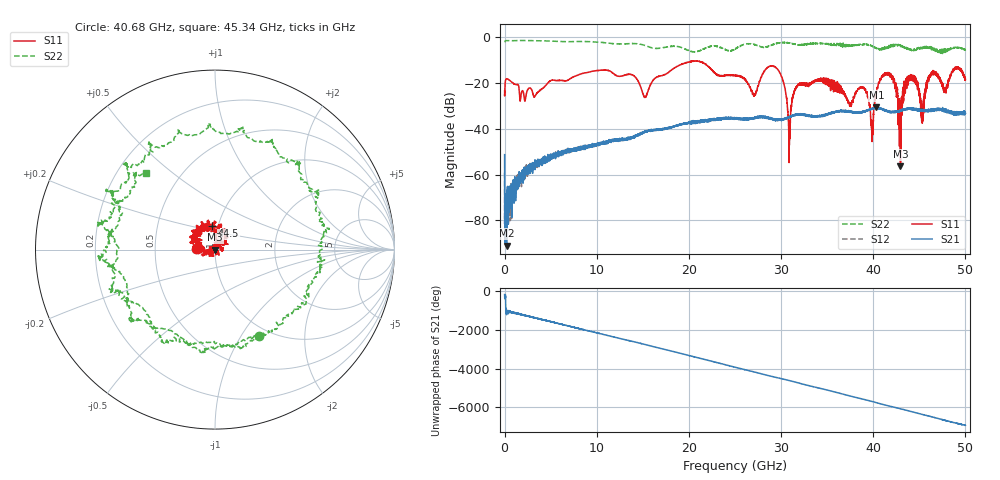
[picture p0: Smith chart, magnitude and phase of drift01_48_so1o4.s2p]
!Created with skrf (http://scikit-rf.org).
# Hz S RI R 50.0
!freq ReS11 ImS11 ReS21 ImS21 ReS12 ImS12 ReS22 ImS22
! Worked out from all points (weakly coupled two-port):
!   10001 points, 300 kHz to 50 GHz, reference 50 ohm
!   highest |S21| = -30.63 dB at 40.34 GHz (marker M1); lowest = -91.0 dB at 220.3 MHz (marker M2)
!   lowest |S11| = -56.3 dB at 42.96 GHz (marker M3), VSWR 1.00, Z = 50.2 - j0.0268 ohm
!   |S11| at or under -10 dB: start of sweep to end of sweep
!   |S22| runs from -7.1 to -1.4 dB; largest |S21 - S12| = 0.0046
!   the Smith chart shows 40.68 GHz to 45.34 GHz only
!   S11 on the Smith chart (normalised r, x): 40.68 GHz: 0.81, +0.00; 44.5 GHz: 0.94, +0.25; 45.34 GHz: 0.97, +0.01
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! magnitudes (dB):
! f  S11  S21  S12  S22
! 300 kHz  -23.5  -51.3  -59.1  -2.1
! 220.3 MHz  -18.1  -91.0  -70.6  -1.4
! 2.85 GHz  -22.4  -56.5  -57.4  -1.4
! 8.335 GHz  -15.9  -48.3  -48.6  -1.8
! 15.23 GHz  -26.2  -41.5  -41.0  -3.6
! 16.67 GHz  -17.0  -40.4  -40.1  -4.8
! 25 GHz  -16.7  -35.2  -35.6  -5.2
! 27.11 GHz  -25.3  -35.3  -35.1  -3.2
! 29.42 GHz  -13.1  -36.0  -36.3  -2.8
! 30.91 GHz  -44.2  -34.8  -34.9  -2.6
! 31.66 GHz  -21.7  -33.7  -33.9  -3.1
! 33.34 GHz  -19.7  -34.5  -34.4  -2.7
! 38.92 GHz  -22.2  -32.7  -32.5  -3.0
! 39.89 GHz  -42.0  -31.2  -31.1  -3.8
! 40.34 GHz  -24.6  -30.6  -30.9  -4.8
! 40.68 GHz  -19.7  -30.8  -30.9  -5.4
! 41.67 GHz  -16.4  -32.1  -32.4  -4.4
! 42.96 GHz  -56.3  -32.1  -32.2  -3.9
! 44.5 GHz  -17.7  -31.2  -31.1  -5.7
! 45.34 GHz  -35.0  -32.1  -31.9  -4.8
! 46.42 GHz  -15.8  -32.1  -32.0  -4.6
! 50 GHz  -18.3  -33.3  -33.2  -5.5
